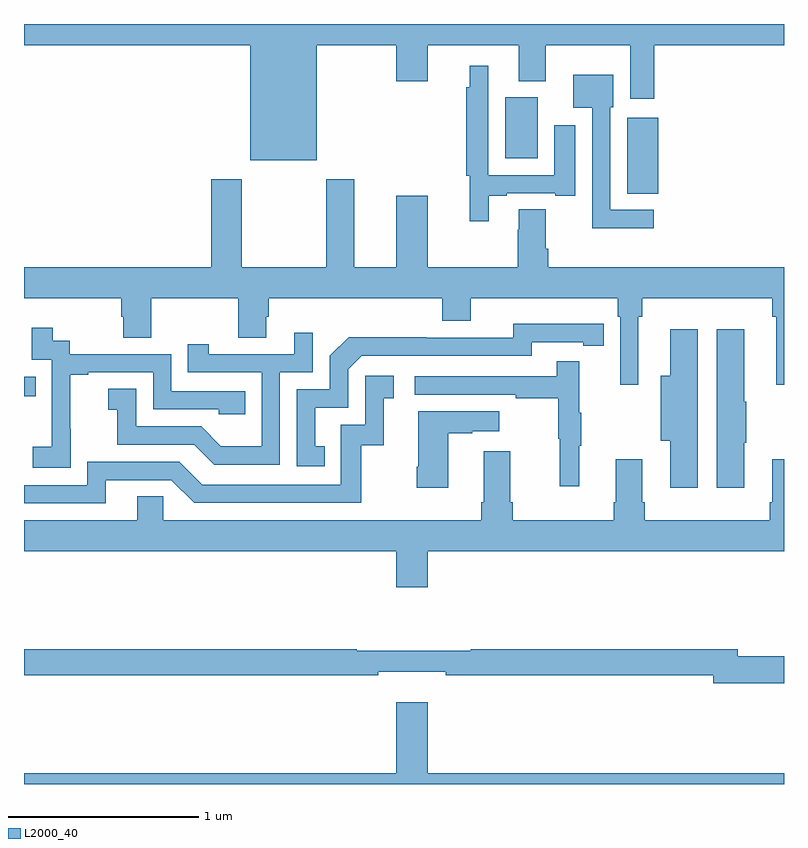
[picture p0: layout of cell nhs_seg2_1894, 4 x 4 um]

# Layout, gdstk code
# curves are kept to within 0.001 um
import gdstk
lib = gdstk.Library(unit=1e-6, precision=1e-09)
def R(c, l, rs):  # rectangles x0, y0, x1, y1
    for r in rs: c.add(gdstk.rectangle(r[:2], r[2:], *l))
def P(c, l, *ps):  # polygons
    for p in ps: c.add(gdstk.Polygon(p, *l))
L2000_40 = (2000, 40)

nhs_seg2_1894 = lib.new_cell('nhs_seg2_1894')
R(nhs_seg2_1894, L2000_40, [(211,593.842,211.061,593.943), (214.175,594.907,214.337,595.306), (213.533,595.094,213.703,595.414)])
P(nhs_seg2_1894, L2000_40, [(212.542,595.688),(212.96,595.688),(212.96,595.5),(213.124,595.5),(213.124,595.688),(213.605,595.688),(213.605,595.499),(213.745,595.499),(213.745,595.688),(214.19,595.688),(214.19,595.407),(214.316,595.407),(214.316,595.688),(215,595.688),(215,595.8),(211,595.8),(211,595.688),(212.192,595.688),(212.192,595.082),(212.542,595.082)],
  [(213.445,594.897),(213.541,594.897),(213.541,594.909),(213.797,594.909),(213.797,594.897),(213.901,594.897),(213.901,595.267),(213.791,595.267),(213.791,595.005),(213.444,595.005),(213.444,595.579),(213.346,595.579),(213.346,595.466),(213.328,595.466),(213.328,595.002),(213.346,595.002),(213.346,594.762),(213.445,594.762)],
  [(214.315,594.822),(214.086,594.822),(214.086,595.362),(214.102,595.362),(214.102,595.534),(213.89,595.534),(213.89,595.358),(213.99,595.358),(213.99,594.725),(214.315,594.725)],
  [(214.234,594.26),(214.253,594.26),(214.253,594.356),(214.939,594.356),(214.939,594.26),(214.958,594.26),(214.958,593.901),(215,593.901),(215,594.52),(213.758,594.52),(213.758,594.616),(213.745,594.616),(213.745,594.824),(213.605,594.824),(213.605,594.716),(213.598,594.716),(213.598,594.52),(213.124,594.52),(213.124,594.895),(212.96,594.895),(212.96,594.52),(212.737,594.52),(212.737,594.982),(212.59,594.982),(212.59,594.52),(212.145,594.52),(212.145,594.982),(211.985,594.982),(211.985,594.52),(211,594.52),(211,594.356),(211.511,594.356),(211.511,594.258),(211.523,594.258),(211.523,594.148),(211.671,594.148),(211.671,594.356),(212.128,594.356),(212.128,594.148),(212.275,594.148),(212.275,594.258),(212.288,594.258),(212.288,594.356),(213.2,594.356),(213.2,594.239),(213.352,594.239),(213.352,594.356),(214.124,594.356),(214.124,594.26),(214.137,594.26),(214.137,593.901),(214.234,593.901)],
  [(212.582,593.577),(212.533,593.577),(212.533,593.781),(212.706,593.781),(212.706,593.982),(212.778,594.054),(213.672,594.054),(213.672,594.126),(213.944,594.126),(213.944,594.106),(214.052,594.106),(214.052,594.222),(213.576,594.223),(213.576,594.15),(213.116,594.15),(213.116,594.152),(212.708,594.152),(212.61,594.054),(212.61,593.877),(212.436,593.877),(212.436,593.472),(212.582,593.472)],
  [(211.245,593.671),(211.244,593.671),(211.244,593.955),(211.339,593.955),(211.339,593.967),(211.68,593.967),(211.68,593.772),(212.025,593.772),(212.025,593.745),(212.165,593.745),(212.165,593.868),(211.776,593.868),(211.776,594.063),(211.242,594.063),(211.242,594.132),(211.15,594.132),(211.15,594.202),(211.041,594.202),(211.041,594.033),(211.146,594.033),(211.146,593.804),(211.145,593.804),(211.145,593.575),(211.047,593.575),(211.047,593.465),(211.245,593.465)],
  [(214.546,594.193),(214.4,594.193),(214.4,593.95),(214.352,593.95),(214.352,593.606),(214.4,593.606),(214.4,593.358),(214.546,593.358)],
  [(214.792,593.596),(214.8,593.596),(214.8,593.813),(214.792,593.813),(214.792,594.193),(214.646,594.193),(214.646,593.358),(214.792,593.358)],
  [(212.346,593.967),(212.52,593.967),(212.52,594.175),(212.423,594.175),(212.423,594.063),(211.972,594.063),(211.972,594.115),(211.861,594.115),(211.861,593.967),(212.25,593.967),(212.25,593.578),(212.036,593.578),(211.932,593.682),(211.59,593.682),(211.59,593.881),(211.443,593.881),(211.443,593.771),(211.492,593.771),(211.492,593.586),(211.895,593.586),(212,593.481),(212.346,593.481)],
  [(213.923,593.579),(213.934,593.579),(213.934,593.753),(213.923,593.753),(213.923,594.025),(213.805,594.025),(213.805,593.946),(213.057,593.946),(213.057,593.85),(213.589,593.85),(213.589,593.83),(213.813,593.83),(213.813,593.616),(213.82,593.616),(213.82,593.367),(213.923,593.367)],
  [(211.429,593.4),(211.776,593.4),(211.896,593.28),(212.776,593.28),(212.776,593.583),(212.894,593.583),(212.894,593.829),(212.947,593.829),(212.947,593.95),(212.796,593.95),(212.796,593.691),(212.667,593.691),(212.667,593.376),(211.938,593.376),(211.818,593.496),(211.332,593.496),(211.332,593.373),(211,593.373),(211,593.277),(211.429,593.277)],
  [(213.232,593.647),(213.359,593.647),(213.359,593.657),(213.502,593.657),(213.502,593.761),(213.074,593.761),(213.074,593.47),(213.067,593.47),(213.067,593.358),(213.232,593.358)],
  [(213.124,593.024),(215,593.024),(215,593.509),(214.937,593.509),(214.937,593.284),(214.925,593.284),(214.925,593.188),(214.268,593.188),(214.268,593.284),(214.255,593.284),(214.255,593.509),(214.115,593.509),(214.115,593.284),(214.103,593.284),(214.103,593.188),(213.572,593.188),(213.572,593.284),(213.559,593.284),(213.559,593.551),(213.419,593.551),(213.419,593.284),(213.407,593.284),(213.407,593.188),(211.734,593.188),(211.734,593.315),(211.595,593.315),(211.595,593.188),(211,593.188),(211,593.024),(212.96,593.024),(212.96,592.836),(213.124,592.836)],
  [(215,592.472),(214.756,592.472),(214.756,592.508),(213.352,592.508),(213.352,592.501),(212.752,592.501),(212.752,592.508),(211,592.508),(211,592.372),(212.864,592.372),(212.864,592.391),(213.22,592.391),(213.22,592.372),(214.628,592.372),(214.628,592.33),(215,592.33)],
  [(215,591.856),(213.124,591.856),(213.124,592.231),(212.96,592.231),(212.96,591.856),(211,591.856),(211,591.8),(215,591.8)])

lib.write_gds('nhs_seg2_1894.gds')
